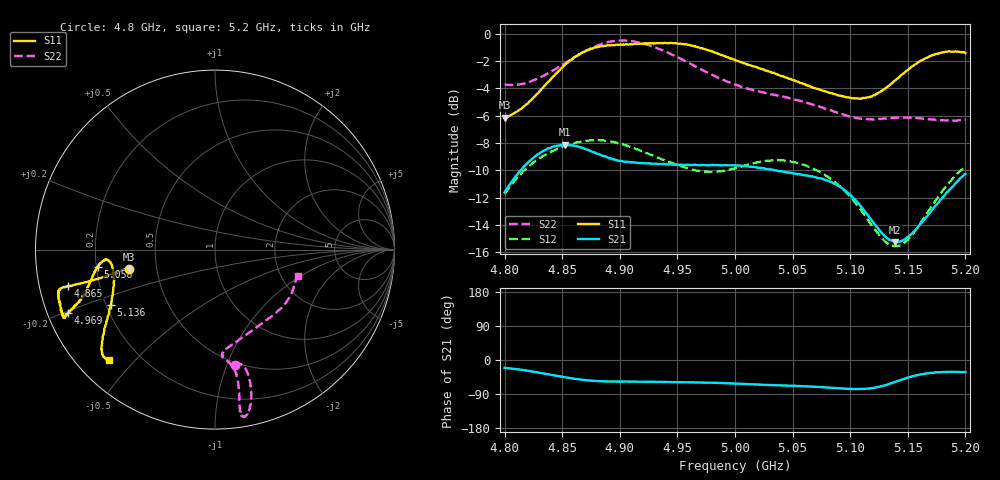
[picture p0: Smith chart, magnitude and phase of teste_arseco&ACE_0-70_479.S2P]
! Network Analyzer HP8722D
! Hewlett-Packard
! Data name: Linha & Wilkinson
! Saver's name: Rodrigo Anjos
! Comments: Teste da utilização de aquisição
! continua pelo VNA HP8722D
! Time and date: 8/5/2025 16:45
!  Frequency  S11  S21  S12  S22
# HZ  S  MA R 50
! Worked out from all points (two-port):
!   401 points, 4.8 GHz to 5.2 GHz, reference 50 ohm
!   highest |S21| = -8.13 dB at 4.852 GHz (marker M1); lowest = -15.2 dB at 5.139 GHz (marker M2)
!   |S21| within 3 dB of the highest: 4.804 GHz to 5.089 GHz (285.6 MHz wide, 5.77 % of centre); 5.189615 GHz to end of sweep
!   lowest |S11| = -6.1 dB at 4.8 GHz (marker M3), VSWR 2.95, Z = 17.1 - j4.9 ohm
!   |S11| at or under -10 dB: nowhere
!   |S22| runs from -6.4 to -0.5 dB; largest |S21 - S12| = 0.62
!   S11 on the Smith chart (normalised r, x): 4.8 GHz: 0.34, -0.10; 4.865 GHz: 0.09, -0.12; 4.969 GHz: 0.06, -0.21; 5.058 GHz: 0.21, -0.07; 5.136 GHz: 0.22, -0.24; 5.2 GHz: 0.10, -0.42
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4.8e9  0.4935 -167.3  0.2628 -20.7  0.2592 -141.9  0.653 -80.1
4.827e9  0.5949 -166.6  0.357 -31.8  0.3422 -146.2  0.6813 -75.7
4.852e9  0.767 -165.9  0.3924 -45.4  0.3883 -150.7  0.7789 -75.2
4.865e9  0.8416 -166.2  0.3847 -51.1  0.4018 -152.9  0.8396 -76.1
4.867e9  0.8521 -166.1  0.3827 -52.1  0.4034 -153.1  0.8506 -76.2
4.88e9  0.8911 -165.7  0.3647 -55.6  0.408 -155.0  0.9037 -77.6
4.899e9  0.9111 -163.1  0.3431 -57.0  0.3974 -157.3  0.9451 -79.9
4.934e9  0.9237 -156.7  0.3334 -57.8  0.3517 -155.9  0.8791 -81.0
4.969e9  0.8896 -156.6  0.3296 -59.3  0.3147 -147.6  0.7466 -80.1
5e9  0.8021 -159.5  0.3298 -62.3  0.3223 -137.8  0.6519 -81.8
5.032e9  0.7201 -165.2  0.3179 -66.2  0.3441 -135.0  0.5996 -85.8
5.058e9  0.6601 -171.8  0.3047 -69.0  0.3323 -137.0  0.5661 -84.7
5.067e9  0.6366 -173.5  0.3012 -70.1  0.3225 -137.8  0.5512 -82.7
5.086e9  0.6014 -174.6  0.2828 -73.7  0.2884 -139.4  0.5187 -74.9
5.101e9  0.5816 -171.4  0.2552 -76.6  0.2505 -139.5  0.497 -65.8
5.116e9  0.5847 -164.3  0.2151 -75.3  0.2065 -135.1  0.4869 -54.8
5.134e9  0.6476 -153.2  0.1761 -63.2  0.1689 -118.5  0.4913 -42.8
5.136e9  0.6583 -152.0  0.175 -60.9  0.1672 -116.0  0.4916 -41.7
5.139e9  0.6751 -150.6  0.1729 -57.8  0.167 -111.9  0.4928 -39.9
5.151e9  0.7443 -145.4  0.1816 -45.7  0.1784 -96.7  0.4933 -33.5
5.17e9  0.8298 -139.6  0.2235 -33.9  0.2312 -82.0  0.4865 -25.3
5.2e9  0.85 -133.8  0.3072 -32.1  0.3268 -77.7  0.4844 -17.8
